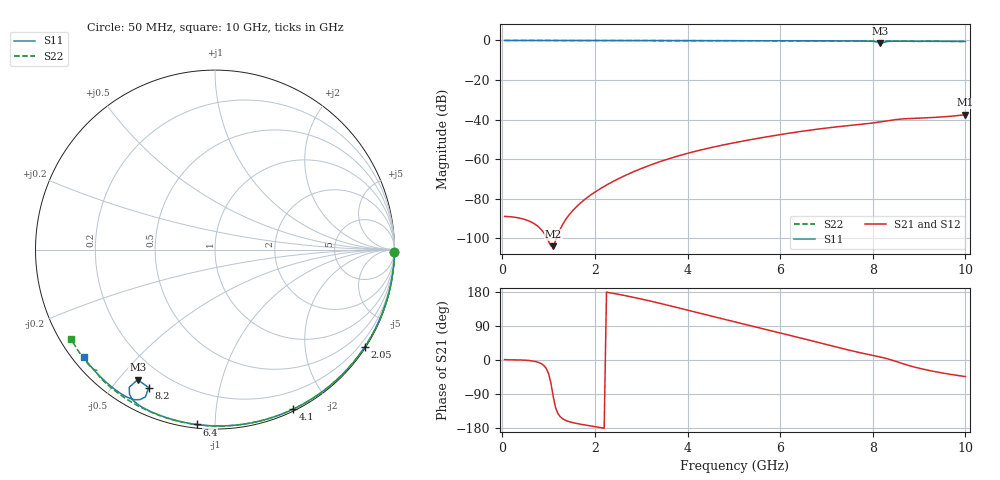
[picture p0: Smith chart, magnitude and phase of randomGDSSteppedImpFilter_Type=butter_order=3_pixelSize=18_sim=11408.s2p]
! freq	dB(S11)	phase(S11)	dB(S12)	phase(S12)
!  dB(S21)	phase(S21)	dB(S22)	phase(S22)
!S-par simulation data
#  GHz  S  DB  R 50
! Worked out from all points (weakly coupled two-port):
!   200 points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, 50 MHz to 10 GHz, reference 50 ohm
!   highest |S21| = -37.53 dB at 10 GHz (marker M1); lowest = -104.0 dB at 1.1 GHz (marker M2)
!   lowest |S11| = -1.5 dB at 8.15 GHz (marker M3), VSWR 11.75, Z = 5.62 - j28.2 ohm
!   |S11| at or under -10 dB: nowhere
!   |S22| runs from -0.5 to 0.0 dB; largest |S21 - S12| = 0
!   S11 on the Smith chart (normalised r, x): 50 MHz: open; 2.05 GHz: 0.03, -3.38; 4.1 GHz: 0.02, -1.60; 6.4 GHz: 0.02, -0.90; 8.2 GHz: 0.11, -0.62; 10 GHz: 0.03, -0.36
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0.05  -0.00 -0.8  -88.94 1.0  -88.94 1.0  -0.00 -0.9
1.1  -0.02 -17.9  -103.98 -96.4  -103.98 -96.4  -0.02 -18.7
1.75  -0.04 -28.2  -80.95 -170.8  -80.95 -170.8  -0.04 -29.5
1.8  -0.04 -29.0  -80.01 -171.8  -80.01 -171.8  -0.04 -30.3
2.05  -0.04 -33.0  -75.89 -176.8  -75.89 -176.8  -0.04 -34.4
2.35  -0.05 -37.6  -71.80 176.9  -71.80 176.9  -0.05 -39.3
2.65  -0.05 -42.3  -68.29 170.0  -68.29 170.0  -0.06 -44.2
3.4  -0.07 -53.7  -61.30 149.7  -61.30 149.7  -0.07 -56.1
4.1  -0.09 -64.0  -56.44 128.5  -56.44 128.5  -0.09 -66.9
5.05  -0.12 -77.6  -51.50 99.8  -51.50 99.8  -0.12 -81.0
6.4  -0.18 -96.0  -46.15 59.4  -46.15 59.4  -0.19 -100.2
6.7  -0.19 -100.0  -45.17 50.1  -45.17 50.1  -0.20 -104.3
7.85  -0.31 -116.0  -42.13 16.1  -42.13 16.1  -0.28 -119.9
8  -0.43 -119.1  -41.71 12.3  -41.71 12.3  -0.30 -121.9
8.1  -0.88 -121.9  -41.39 9.7  -41.39 9.7  -0.30 -123.2
8.15  -1.48 -120.7  -41.21 8.4  -41.21 8.4  -0.31 -123.9
8.2  -1.38 -115.6  -41.03 7.0  -41.03 7.0  -0.31 -124.6
8.25  -0.84 -115.3  -40.84 5.5  -40.84 5.5  -0.32 -125.3
8.35  -0.48 -117.9  -40.47 2.1  -40.47 2.1  -0.33 -126.6
8.9  -0.38 -126.6  -39.36 -18.7  -39.36 -18.7  -0.48 -134.2
9.15  -0.39 -129.9  -39.12 -25.9  -39.12 -25.9  -0.43 -136.8
10  -0.48 -140.6  -37.53 -43.8  -37.53 -43.8  -0.51 -148.3
